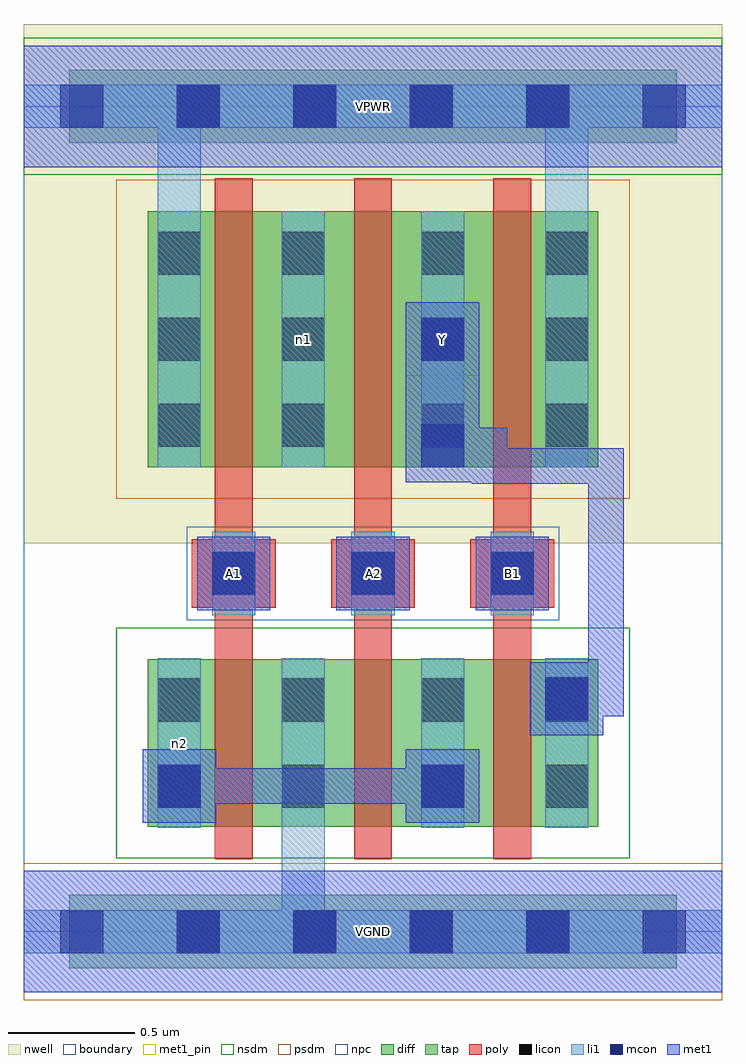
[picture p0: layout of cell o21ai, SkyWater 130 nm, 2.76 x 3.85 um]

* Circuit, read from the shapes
.subckt o21ai A1 A2 B1 VGND VPWR Y n1 n2
XM1 VGND A1 n2 VGND sky130_fd_pr__nfet_01v8 w=0.66 l=0.15
XM2 n2 A2 VGND VGND sky130_fd_pr__nfet_01v8 w=0.66 l=0.15
XM3 Y B1 n2 VGND sky130_fd_pr__nfet_01v8 w=0.66 l=0.15
XM4 n1 A1 VPWR VPWR sky130_fd_pr__pfet_01v8 w=1.01 l=0.15
XM5 Y A2 n1 VPWR sky130_fd_pr__pfet_01v8 w=1.01 l=0.15
XM6 VPWR B1 Y VPWR sky130_fd_pr__pfet_01v8 w=1.01 l=0.15
.ends

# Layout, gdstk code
import gdstk
lib = gdstk.Library(unit=1e-6, precision=1e-09)
def R(c, l, rs):  # rectangles x0, y0, x1, y1
    for r in rs: c.add(gdstk.rectangle(r[:2], r[2:], *l))
def A(c, l, x, y, w, h, nx, ny, dx, dy):  # array of equal rectangles
    R(c, l, [(x+i*dx, y+j*dy, x+i*dx+w, y+j*dy+h) for i in range(nx) for j in range(ny)])
nwell = (64, 20)
diff = (65, 20)
tap = (65, 44)
poly = (66, 20)
licon = (66, 44)
li1 = (67, 20)
mcon = (67, 44)
met1_pin = (68, 16)
met1 = (68, 20)
nsdm = (93, 44)
psdm = (94, 20)
npc = (95, 20)
boundary = (235, 4)

o21ai = lib.new_cell('o21ai')
R(o21ai, nwell, [(0,1.535,2.76,3.585)])
R(o21ai, diff, [(0.49,0.415,2.27,1.075), (0.49,1.835,2.27,2.845)])
R(o21ai, tap, [(0.18,-0.145,2.58,0.145), (0.18,3.115,2.58,3.405)])
A(o21ai, poly, 0.755, 0.285, 0.15, 2.69, 3, 1, 0.55, 0)
A(o21ai, poly, 0.665, 1.28, 0.33, 0.27, 3, 1, 0.55, 0)
A(o21ai, licon, 0.605, -0.085, 0.17, 0.17, 4, 2, 0.46, 3.26)
A(o21ai, licon, 0.745, 1.33, 0.17, 0.17, 3, 1, 0.55, 0)
A(o21ai, licon, 0.53, 1.915, 0.17, 0.17, 1, 3, 0, 0.34)
A(o21ai, licon, 1.02, 1.915, 0.17, 0.17, 1, 3, 0, 0.34)
A(o21ai, licon, 1.57, 1.915, 0.17, 0.17, 1, 3, 0, 0.34)
A(o21ai, licon, 2.06, 1.915, 0.17, 0.17, 1, 3, 0, 0.34)
R(o21ai, licon, [(0.53,0.49,0.7,0.66), (1.02,0.49,1.19,0.66), (1.57,0.49,1.74,0.66), (2.06,0.49,2.23,0.66), (0.53,0.83,0.7,1), (1.02,0.83,1.19,1), (1.57,0.83,1.74,1), (2.06,0.83,2.23,1)])
A(o21ai, li1, 0.745, 1.25, 0.17, 0.33, 3, 1, 0.55, 0)
R(o21ai, li1, [(0,-0.085,2.76,0.085), (1.02,-0.085,1.19,1.08), (0.53,0.41,0.7,1.08), (1.02,0.41,1.19,1.08), (1.57,0.41,1.74,1.08), (2.06,0.41,2.23,1.08), (0.53,1.835,0.7,2.845), (0.53,1.835,0.7,3.345), (1.02,1.835,1.19,2.845), (1.57,1.835,1.74,2.845), (2.06,1.835,2.23,2.845), (2.06,1.835,2.23,3.345), (0,3.175,2.76,3.345)])
A(o21ai, mcon, 0.145, -0.085, 0.17, 0.17, 6, 2, 0.46, 3.26)
A(o21ai, mcon, 0.745, 1.33, 0.17, 0.17, 3, 1, 0.55, 0)
R(o21ai, mcon, [(0.53,0.49,0.7,0.66), (1.57,0.49,1.74,0.66), (2.06,0.835,2.23,1.005), (1.57,1.835,1.74,2.005), (1.57,2.255,1.74,2.425)])
A(o21ai, met1_pin, 0.685, 1.27, 0.29, 0.29, 3, 1, 0.55, 0)
R(o21ai, met1_pin, [(0,-0.24,2.76,0.24), (1.51,2.195,1.8,2.485), (0,3.02,2.76,3.5)])
A(o21ai, met1, 0.685, 1.27, 0.29, 0.29, 3, 1, 0.55, 0)
R(o21ai, met1, [(0,-0.24,2.76,0.24), (0.47,0.43,0.76,0.72), (1.51,0.43,1.8,0.72), (0.545,0.505,0.875,0.645), (0.735,0.505,1.565,0.645), (1.425,0.505,1.725,0.645), (2,0.775,2.29,1.065), (2.075,0.85,2.37,0.99), (2.23,0.85,2.37,1.91), (1.77,1.77,1.91,1.99), (1.77,1.77,2.37,1.91), (1.51,1.775,1.8,2.065), (1.585,1.85,1.91,1.99), (1.51,2.065,1.8,2.195), (1.51,2.195,1.8,2.485), (0,3.02,2.76,3.5)])
R(o21ai, nsdm, [(0.365,0.29,2.395,1.2), (0,2.99,2.76,3.53)])
R(o21ai, psdm, [(0,-0.27,2.76,0.27), (0.365,1.71,2.395,2.97)])
R(o21ai, npc, [(0.645,1.23,2.115,1.6)])
R(o21ai, boundary, [(0,0,2.76,3.26)])
o21ai.add(gdstk.Label('n2', (0.615,0.745), layer=67, texttype=5))
o21ai.add(gdstk.Label('n1', (1.105,2.34), layer=67, texttype=5))
o21ai.add(gdstk.Label('A1', (0.83,1.415), layer=68, texttype=5))
o21ai.add(gdstk.Label('A2', (1.38,1.415), layer=68, texttype=5))
o21ai.add(gdstk.Label('B1', (1.93,1.415), layer=68, texttype=5))
o21ai.add(gdstk.Label('Y', (1.655,2.34), layer=68, texttype=5))
o21ai.add(gdstk.Label('VPWR', (1.38,3.26), layer=68, texttype=5))
o21ai.add(gdstk.Label('VGND', (1.38,0), layer=68, texttype=5))
o21ai.add(gdstk.Label('A1', (0.83,1.415), layer=68, texttype=16))
o21ai.add(gdstk.Label('A2', (1.38,1.415), layer=68, texttype=16))
o21ai.add(gdstk.Label('B1', (1.93,1.415), layer=68, texttype=16))
o21ai.add(gdstk.Label('Y', (1.655,2.34), layer=68, texttype=16))
o21ai.add(gdstk.Label('VPWR', (1.38,3.26), layer=68, texttype=16))
o21ai.add(gdstk.Label('VGND', (1.38,0), layer=68, texttype=16))

lib.write_gds('o21ai.gds')
